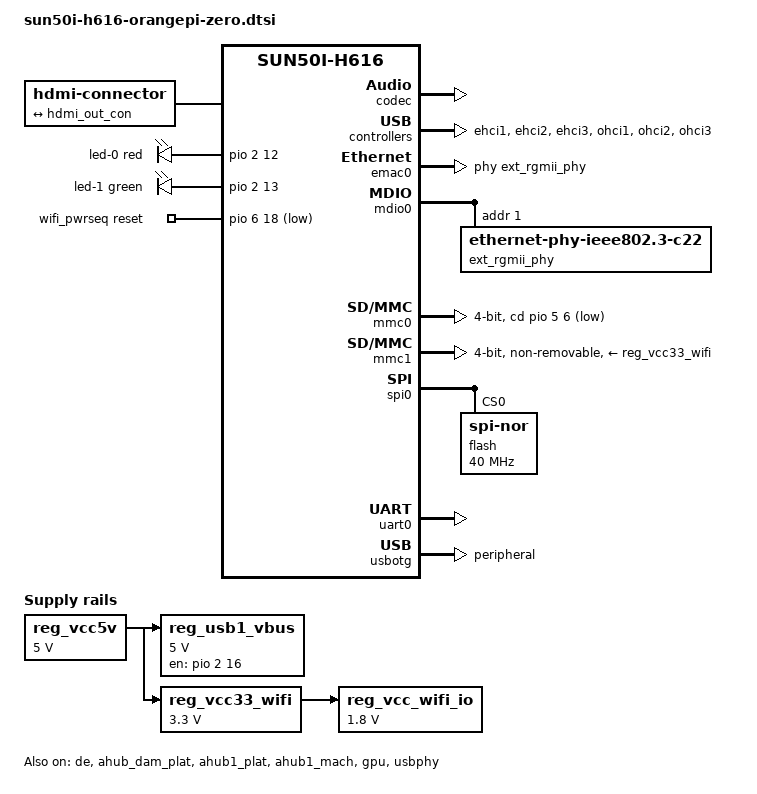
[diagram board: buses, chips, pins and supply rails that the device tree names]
// SPDX-License-Identifier: (GPL-2.0+ OR MIT)
/*
 * Copyright (C) 2020 Arm Ltd.
 *
 * DT nodes common between Orange Pi Zero 2 and Orange Pi Zero 3.
 * Excludes PMIC nodes and properties, since they are different between the two.
 */

#include "sun50i-h616.dtsi"
#include "sun50i-h616-cpu-opp.dtsi"

#include <dt-bindings/gpio/gpio.h>
#include <dt-bindings/interrupt-controller/arm-gic.h>
#include <dt-bindings/leds/common.h>

/ {
	aliases {
		ethernet0 = &emac0;
		serial0 = &uart0;
	};

	chosen {
		stdout-path = "serial0:115200n8";
	};

	connector {
		compatible = "hdmi-connector";
		type = "d";

		port {
			hdmi_con_in: endpoint {
				remote-endpoint = <&hdmi_out_con>;
			};
		};
	};

	leds {
		compatible = "gpio-leds";

		led-0 {
			function = LED_FUNCTION_STATUS;
			color = <LED_COLOR_ID_RED>;
			gpios = <&pio 2 12 GPIO_ACTIVE_HIGH>; /* PC12 */
			linux,default-trigger = "heartbeat";
		};

		led-1 {
			function = LED_FUNCTION_POWER;
			color = <LED_COLOR_ID_GREEN>;
			gpios = <&pio 2 13 GPIO_ACTIVE_HIGH>; /* PC13 */
			default-state = "on";
		};
	};

	reg_vcc5v: vcc5v {
		/* board wide 5V supply directly from the USB-C socket */
		compatible = "regulator-fixed";
		regulator-name = "vcc-5v";
		regulator-min-microvolt = <5000000>;
		regulator-max-microvolt = <5000000>;
		regulator-always-on;
	};

	reg_usb1_vbus: regulator-usb1-vbus {
		compatible = "regulator-fixed";
		regulator-name = "usb1-vbus";
		regulator-min-microvolt = <5000000>;
		regulator-max-microvolt = <5000000>;
		vin-supply = <&reg_vcc5v>;
		enable-active-high;
		gpio = <&pio 2 16 GPIO_ACTIVE_HIGH>; /* PC16 */
		status = "okay";
	};

	reg_vcc33_wifi: vcc33-wifi {
		/* Always on 3.3V regulator for WiFi and BT */
		compatible = "regulator-fixed";
		regulator-name = "vcc33-wifi";
		regulator-min-microvolt = <3300000>;
		regulator-max-microvolt = <3300000>;
		regulator-always-on;
		vin-supply = <&reg_vcc5v>;
	};

	reg_vcc_wifi_io: vcc-wifi-io {
		/* Always on 1.8V/300mA regulator for WiFi and BT IO */
		compatible = "regulator-fixed";
		regulator-name = "vcc-wifi-io";
		regulator-min-microvolt = <1800000>;
		regulator-max-microvolt = <1800000>;
		regulator-always-on;
		vin-supply = <&reg_vcc33_wifi>;
	};

	wifi_pwrseq: wifi-pwrseq {
		compatible = "mmc-pwrseq-simple";
		clocks = <&rtc 1>;
		clock-names = "osc32k-out";
		reset-gpios = <&pio 6 18 GPIO_ACTIVE_LOW>; /* PG18 */
		post-power-on-delay-ms = <200>;
	};
};

&codec {
	allwinner,audio-routing = "Line Out", "LINEOUT";
	status = "okay";
};

&de {
	status = "okay";
};

&ahub_dam_plat {
	status = "okay";
};

&ahub1_plat {
	status = "okay";
};

&ahub1_mach {
	status = "okay";
};

&ehci1 {
	status = "okay";
};

/* USB 2 & 3 are on headers only. */
&ehci2 {
	status = "okay";
};

&ehci3 {
	status = "okay";
};

&emac0 {
	pinctrl-names = "default";
	pinctrl-0 = <&ext_rgmii_pins>;
	phy-handle = <&ext_rgmii_phy>;
	status = "okay";
};

&gpu {
	status = "okay";
};

&hdmi_out {
	hdmi_out_con: endpoint {
		remote-endpoint = <&hdmi_con_in>;
	};
};

&mdio0 {
	ext_rgmii_phy: ethernet-phy@1 {
		compatible = "ethernet-phy-ieee802.3-c22";
		reg = <1>;
	};
};

&mmc0 {
	cd-gpios = <&pio 5 6 GPIO_ACTIVE_LOW>;	/* PF6 */
	disable-wp;
	bus-width = <4>;
	status = "okay";
};

&mmc1 {
	vmmc-supply = <&reg_vcc33_wifi>;
	vqmmc-supply = <&reg_vcc_wifi_io>;
	mmc-pwrseq = <&wifi_pwrseq>;
	bus-width = <4>;
	non-removable;
	mmc-ddr-1_8v;
	status = "okay";
};

&ohci1 {
	status = "okay";
};

&ohci2 {
	status = "okay";
};

&ohci3 {
	status = "okay";
};

&spi0  {
	status = "okay";
	pinctrl-names = "default";
	pinctrl-0 = <&spi0_pins>, <&spi0_cs0_pin>;

	flash@0 {
		#address-cells = <1>;
		#size-cells = <1>;
		compatible = "jedec,spi-nor";
		reg = <0>;
		spi-max-frequency = <40000000>;
	};
};

&uart0 {
	pinctrl-names = "default";
	pinctrl-0 = <&uart0_ph_pins>;
	status = "okay";
};

&usbotg {
	/*
	 * PHY0 pins are connected to a USB-C socket, but a role switch
	 * is not implemented: both CC pins are pulled to GND.
	 * The VBUS pins power the device, so a fixed peripheral mode
	 * is the best choice.
	 * The board can be powered via GPIOs, in this case port0 *can*
	 * act as a host (with a cable/adapter ignoring CC), as VBUS is
	 * then provided by the GPIOs. Any user of this setup would
	 * need to adjust the DT accordingly: dr_mode set to "host",
	 * enabling OHCI0 and EHCI0.
	 */
	dr_mode = "peripheral";
	status = "okay";
};

&usbphy {
	usb1_vbus-supply = <&reg_usb1_vbus>;
	status = "okay";
};
